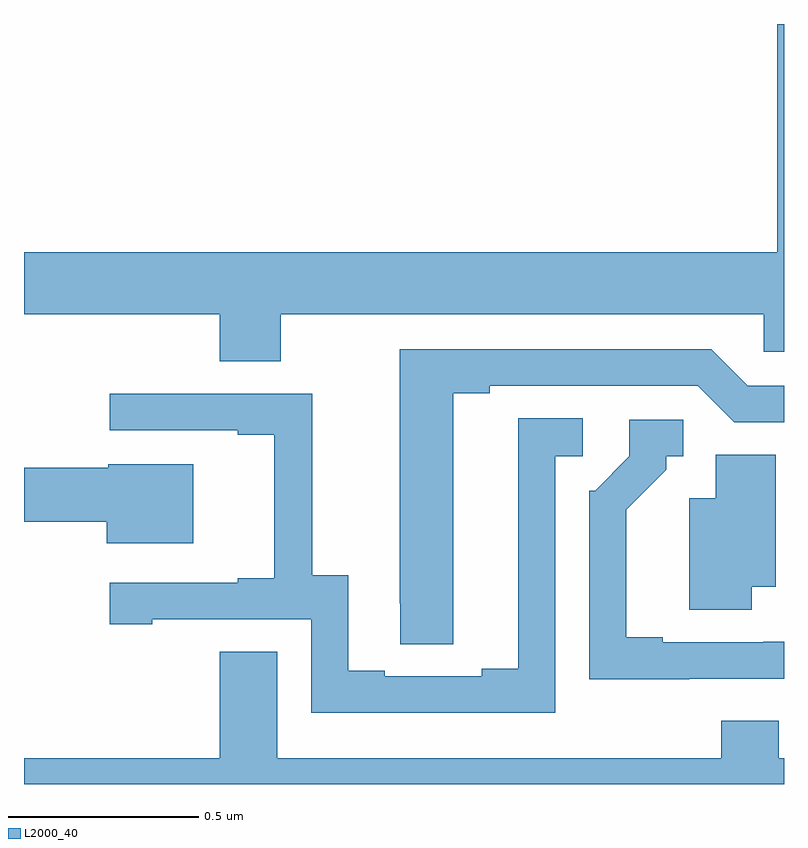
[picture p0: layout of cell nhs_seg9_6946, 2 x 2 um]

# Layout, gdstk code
import gdstk
lib = gdstk.Library(unit=1e-6, precision=1e-09)
def P(c, l, *ps):  # polygons
    for p in ps: c.add(gdstk.Polygon(p, *l))
L2000_40 = (2000, 40)

nhs_seg9_6946 = lib.new_cell('nhs_seg9_6946')
P(nhs_seg9_6946, L2000_40, [(198.675,1213.736),(199.947,1213.736),(199.947,1213.638),(200,1213.638),(200,1214.5),(199.982,1214.5),(199.982,1213.9),(198,1213.9),(198,1213.736),(198.515,1213.736),(198.515,1213.612),(198.675,1213.612)],
  [(199.129,1213.528),(199.225,1213.528),(199.225,1213.548),(199.773,1213.548),(199.869,1213.452),(200,1213.452),(200,1213.548),(199.905,1213.548),(199.809,1213.644),(198.989,1213.644),(198.989,1212.976),(198.99,1212.976),(198.99,1212.868),(199.129,1212.868)],
  [(199.398,1213.362),(199.471,1213.362),(199.471,1213.463),(199.301,1213.463),(199.301,1212.803),(199.205,1212.803),(199.205,1212.783),(198.949,1212.783),(198.949,1212.798),(198.853,1212.798),(198.853,1213.049),(198.759,1213.049),(198.759,1213.527),(198.225,1213.527),(198.225,1213.431),(198.563,1213.431),(198.563,1213.419),(198.659,1213.419),(198.659,1213.042),(198.563,1213.042),(198.563,1213.029),(198.225,1213.029),(198.225,1212.921),(198.337,1212.921),(198.337,1212.933),(198.756,1212.933),(198.756,1212.687),(199.398,1212.687)],
  [(199.751,1212.777),(200,1212.777),(200,1212.874),(199.946,1212.874),(199.946,1212.873),(199.681,1212.873),(199.681,1212.886),(199.585,1212.886),(199.585,1213.222),(199.69,1213.327),(199.69,1213.362),(199.735,1213.362),(199.735,1213.458),(199.593,1213.458),(199.593,1213.362),(199.503,1213.272),(199.488,1213.272),(199.488,1212.776),(199.751,1212.776)],
  [(199.915,1213.019),(199.978,1213.019),(199.978,1213.367),(199.82,1213.367),(199.82,1213.252),(199.751,1213.252),(199.751,1212.958),(199.915,1212.958)],
  [(198.445,1213.342),(198.222,1213.342),(198.222,1213.332),(198,1213.332),(198,1213.19),(198.218,1213.19),(198.218,1213.133),(198.445,1213.133)],
  [(200,1212.568),(199.986,1212.568),(199.986,1212.666),(199.835,1212.666),(199.835,1212.568),(198.667,1212.568),(198.667,1212.848),(198.515,1212.848),(198.515,1212.568),(198,1212.568),(198,1212.5),(200,1212.5)])

lib.write_gds('nhs_seg9_6946.gds')
